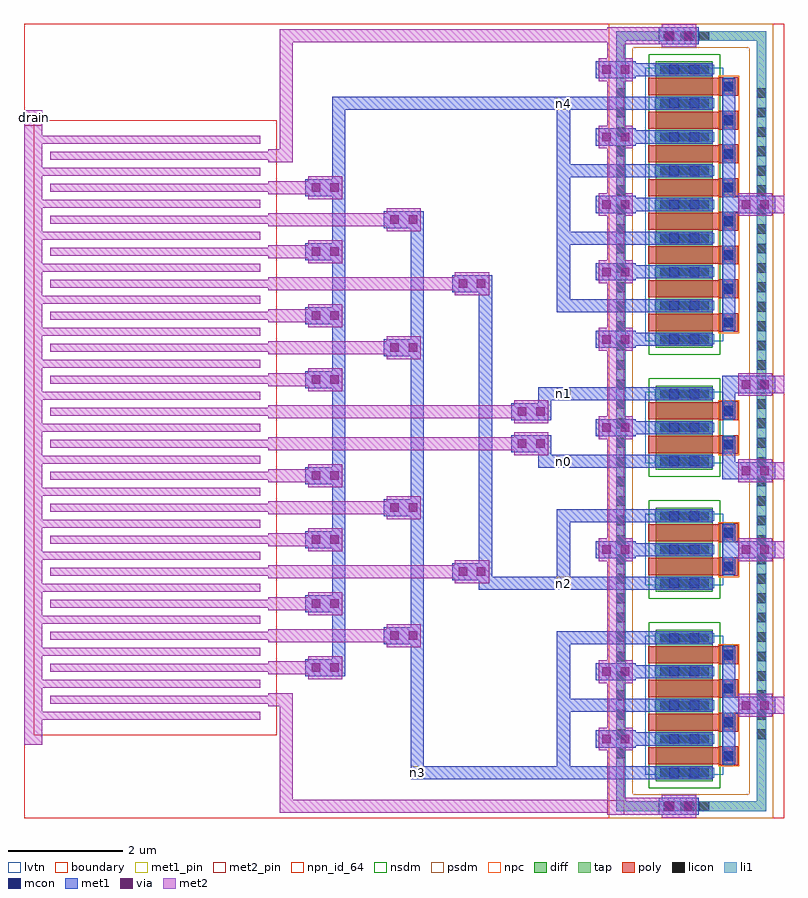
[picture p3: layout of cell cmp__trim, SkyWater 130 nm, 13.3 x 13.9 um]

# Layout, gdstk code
from math import pi, radians
import gdstk
lib = gdstk.Library(unit=1e-6, precision=1e-09)
def R(c, l, rs):  # rectangles x0, y0, x1, y1
    for r in rs: c.add(gdstk.rectangle(r[:2], r[2:], *l))
def A(c, l, x, y, w, h, nx, ny, dx, dy):  # array of equal rectangles
    R(c, l, [(x+i*dx, y+j*dy, x+i*dx+w, y+j*dy+h) for i in range(nx) for j in range(ny)])
diff = (65, 20)
tap = (65, 44)
poly = (66, 20)
licon = (66, 44)
li1 = (67, 20)
mcon = (67, 44)
met1_pin = (68, 16)
met1 = (68, 20)
via = (68, 44)
met2_pin = (69, 16)
met2 = (69, 20)
npn_id_64 = (82, 64)
nsdm = (93, 44)
psdm = (94, 20)
npc = (95, 20)
lvtn = (125, 44)
boundary = (235, 4)

via_m1_m2_7 = lib.new_cell('via_M1_M2$7')
R(via_m1_m2_7, met1, [(-0.35,0,-0.05,0.7)])
R(via_m1_m2_7, via, [(-0.275,0.115,-0.125,0.265), (-0.275,0.435,-0.125,0.585)])
R(via_m1_m2_7, met2, [(-0.4,0.05,0,0.65)])

via_li_m1_2 = lib.new_cell('via_LI_M1$2')
R(via_li_m1_2, li1, [(-0.2,0.03,-0.03,0.56)])
R(via_li_m1_2, mcon, [(-0.2,0.03,-0.03,0.2), (-0.2,0.39,-0.03,0.56)])
R(via_li_m1_2, met1, [(-0.23,0,0,0.59)])

cmpts__m1 = lib.new_cell('cmpts__M1')
R(cmpts__m1, diff, [(-0.455,-0.44,0.545,0.44)])
R(cmpts__m1, poly, [(0.655,-0.165,0.985,0.165), (-0.585,-0.15,0.655,0.15)])
A(cmpts__m1, licon, -0.38, -0.38, 0.17, 0.17, 3, 2, 0.34, 0.59)
R(cmpts__m1, licon, [(0.735,-0.085,0.905,0.085)])
R(cmpts__m1, li1, [(-0.475,-0.38,0.565,-0.21), (0.735,-0.165,0.905,0.165), (-0.475,0.21,0.565,0.38)])
R(cmpts__m1, mcon, [(-0.22,-0.38,-0.05,-0.21), (0.14,-0.38,0.31,-0.21), (0.735,-0.085,0.905,0.085), (-0.22,0.21,-0.05,0.38), (0.14,0.21,0.31,0.38)])
R(cmpts__m1, met1, [(-0.455,-0.41,0.545,-0.18), (0.705,-0.145,0.935,0.145), (-0.455,0.18,0.545,0.41)])
R(cmpts__m1, nsdm, [(-0.58,-0.565,0.67,0.565)])
R(cmpts__m1, npc, [(0.635,-0.185,1.005,0.185)])
R(cmpts__m1, lvtn, [(-0.635,-0.33,0.725,0.33)])

cmpts__guardring_n = lib.new_cell('cmpts__Guardring_N')
A(cmpts__guardring_n, licon, 2.175, 12.3, 0.17, 0.17, 1, 35, 0, 0.34)
A(cmpts__guardring_n, licon, 4.635, 12.64, 0.17, 0.17, 1, 34, 0, 0.34)
R(cmpts__guardring_n, licon, [(3.295,11.38,3.465,11.55), (3.635,11.38,3.805,11.55), (3.295,24.86,3.465,25.03), (3.635,24.86,3.805,25.03)])
cmpts__guardring_n.add(gdstk.FlexPath([(2.26,11.38),(2.26,24.945),(4.72,24.945),(4.72,11.465),(2.26,11.465)], 0.17, ends="flush", simple_path=True, layer=67, datatype=20))  # li1
cmpts__guardring_n.add(gdstk.FlexPath([(2.26,11.255),(2.26,24.945),(4.72,24.945),(4.72,11.465),(2.26,11.465)], 0.42, ends="flush", simple_path=True, layer=94, datatype=20))  # psdm
cmpts__guardring_n.add(gdstk.FlexPath([(2.26,11.38),(2.26,24.945),(4.72,24.945),(4.72,11.465),(2.26,11.465)], 0.17, ends="flush", simple_path=True, layer=65, datatype=44))  # tap

cmpt__trim_sw = lib.new_cell('cmpt__trim_sw')
R(cmpt__trim_sw, met1, [(-0.885,0.945,-0.655,3.005), (-0.885,4.26,-0.655,5.14)])
R(cmpt__trim_sw, met2_pin, [(-2.895,0.06,-2.595,0.31), (-0.005,1.825,0.2,2.125), (-0.005,4.55,0.2,4.85), (-0.005,5.93,0.2,6.23), (-0.005,7.44,0.2,7.74), (-0.005,10.59,0.2,10.89)])
R(cmpt__trim_sw, met2, [(-0.005,1.825,0.2,2.125), (-0.005,4.55,0.2,4.85), (-0.005,5.93,0.2,6.23), (-0.005,7.44,0.2,7.74), (-0.005,10.59,0.2,10.89)])
cmpt__trim_sw.add(gdstk.FlexPath([(-2.98,10.74),(-2.16,10.74)], 0.23, ends="extended", simple_path=True, layer=68, datatype=20))  # met1
cmpt__trim_sw.add(gdstk.FlexPath([(-2.98,13.1),(-2.16,13.1)], 0.23, ends="extended", simple_path=True, layer=68, datatype=20))  # met1
cmpt__trim_sw.add(gdstk.FlexPath([(-2.98,11.92),(-2.16,11.92)], 0.23, ends="extended", simple_path=True, layer=68, datatype=20))  # met1
cmpt__trim_sw.add(gdstk.FlexPath([(-2.98,10.74),(-2.16,10.74)], 0.23, ends="extended", simple_path=True, layer=68, datatype=20))  # met1
cmpt__trim_sw.add(gdstk.FlexPath([(-2.98,9.56),(-2.16,9.56)], 0.23, ends="extended", simple_path=True, layer=68, datatype=20))  # met1
cmpt__trim_sw.add(gdstk.FlexPath([(-3.66,4.11),(-3.66,5.29)], 0.23, ends="extended", simple_path=True, layer=68, datatype=20))  # met1
cmpt__trim_sw.add(gdstk.FlexPath([(-3.66,0.795),(-3.66,3.155)], 0.23, ends="extended", simple_path=True, layer=68, datatype=20))  # met1
cmpt__trim_sw.add(gdstk.FlexPath([(-3.66,6.245),(-2.16,6.245)], 0.23, ends="extended", simple_path=True, layer=68, datatype=20))  # met1
cmpt__trim_sw.add(gdstk.FlexPath([(-3.545,3.155),(-2.16,3.155)], 0.23, ends="extended", simple_path=True, layer=68, datatype=20))  # met1
cmpt__trim_sw.add(gdstk.FlexPath([(-3.545,5.29),(-2.16,5.29)], 0.23, ends="extended", simple_path=True, layer=68, datatype=20))  # met1
cmpt__trim_sw.add(gdstk.FlexPath([(-2.98,4.7),(-2.16,4.7)], 0.23, ends="extended", simple_path=True, layer=68, datatype=20))  # met1
cmpt__trim_sw.add(gdstk.FlexPath([(-3.545,4.11),(-2.16,4.11)], 0.23, ends="extended", simple_path=True, layer=68, datatype=20))  # met1
cmpt__trim_sw.add(gdstk.FlexPath([(-3.66,8.97),(-2.16,8.97)], 0.23, ends="extended", simple_path=True, layer=68, datatype=20))  # met1
cmpt__trim_sw.add(gdstk.FlexPath([(-3.66,12.51),(-2.16,12.51)], 0.23, ends="extended", simple_path=True, layer=68, datatype=20))  # met1
cmpt__trim_sw.add(gdstk.FlexPath([(-2.98,8.38),(-2.16,8.38)], 0.23, ends="extended", simple_path=True, layer=68, datatype=20))  # met1
cmpt__trim_sw.add(gdstk.FlexPath([(-3.66,11.33),(-2.16,11.33)], 0.23, ends="extended", simple_path=True, layer=68, datatype=20))  # met1
cmpt__trim_sw.add(gdstk.FlexPath([(-3.66,10.15),(-2.16,10.15)], 0.23, ends="extended", simple_path=True, layer=68, datatype=20))  # met1
cmpt__trim_sw.add(gdstk.FlexPath([(-3.66,8.97),(-3.66,12.51)], 0.23, ends="extended", simple_path=True, layer=68, datatype=20))  # met1
cmpt__trim_sw.add(gdstk.FlexPath([(-2.98,2.565),(-2.16,2.565)], 0.23, ends="extended", simple_path=True, layer=68, datatype=20))  # met1
cmpt__trim_sw.add(gdstk.FlexPath([(-2.98,1.385),(-2.16,1.385)], 0.23, ends="extended", simple_path=True, layer=68, datatype=20))  # met1
cmpt__trim_sw.add(gdstk.FlexPath([(-0.77,8.645),(-0.77,12.835)], 0.23, ends="extended", simple_path=True, layer=68, datatype=20))  # met1
cmpt__trim_sw.add(gdstk.FlexPath([(-3.545,1.975),(-2.16,1.975)], 0.23, ends="extended", simple_path=True, layer=68, datatype=20))  # met1
cmpt__trim_sw.add(gdstk.FlexPath([(-3.545,0.795),(-2.16,0.795)], 0.23, ends="extended", simple_path=True, layer=68, datatype=20))  # met1
cmpt__trim_sw.add(gdstk.FlexPath([(-0.77,6.28),(-0.77,6.045)], 0.23, ends="extended", simple_path=True, layer=68, datatype=20))  # met1
cmpt__trim_sw.add(gdstk.FlexPath([(-2.98,6.835),(-2.16,6.835)], 0.23, ends="extended", simple_path=True, layer=68, datatype=20))  # met1
cmpt__trim_sw.add(gdstk.FlexPath([(-3.66,7.425),(-2.16,7.425)], 0.23, ends="extended", simple_path=True, layer=68, datatype=20))  # met1
cmpt__trim_sw.add(gdstk.FlexPath([(-0.77,7.39),(-0.77,7.625)], 0.23, ends="extended", simple_path=True, layer=68, datatype=20))  # met1
cmpt__trim_sw.add(gdstk.FlexPath([(-1.945,13.69),(-2.745,13.69)], 0.3, ends="extended", simple_path=True, layer=69, datatype=20))  # met2
cmpt__trim_sw.add(gdstk.FlexPath([(-2.745,13.69),(-2.745,0.21)], 0.3, ends="extended", simple_path=True, layer=69, datatype=20))  # met2
cmpt__trim_sw.add(gdstk.FlexPath([(-1.945,0.21),(-2.745,0.21)], 0.3, ends="extended", simple_path=True, layer=69, datatype=20))  # met2
cmpt__trim_sw.add(gdstk.Reference(via_m1_m2_7, (-1.99,13.89), rotation=pi/2, x_reflection=True))
cmpt__trim_sw.add(gdstk.Reference(via_li_m1_2, (-1.345,13.805), rotation=pi/2))
cmpt__trim_sw.add(gdstk.Reference(via_m1_m2_7, (-1.99,0.41), rotation=pi/2, x_reflection=True))
cmpt__trim_sw.add(gdstk.Reference(via_li_m1_2, (-1.345,0.325), rotation=pi/2))
cmpt__trim_sw.add(gdstk.Reference(via_m1_m2_7, (-3.095,13.3), rotation=pi/2, x_reflection=True))
cmpt__trim_sw.add(gdstk.Reference(via_m1_m2_7, (-3.095,12.12), rotation=pi/2, x_reflection=True))
cmpt__trim_sw.add(gdstk.Reference(via_m1_m2_7, (-3.095,10.94), rotation=pi/2, x_reflection=True))
cmpt__trim_sw.add(gdstk.Reference(cmpts__m1, (-1.59,4.995)))
cmpt__trim_sw.add(gdstk.Reference(cmpts__m1, (-1.59,4.405)))
cmpt__trim_sw.add(gdstk.Reference(via_m1_m2_7, (-3.095,7.035), rotation=pi/2, x_reflection=True))
cmpt__trim_sw.add(gdstk.Reference(via_m1_m2_7, (-3.095,4.9), rotation=pi/2, x_reflection=True))
cmpt__trim_sw.add(gdstk.Reference(via_m1_m2_7, (-3.095,9.76), rotation=pi/2, x_reflection=True))
cmpt__trim_sw.add(gdstk.Reference(via_m1_m2_7, (-3.095,2.765), rotation=pi/2, x_reflection=True))
cmpt__trim_sw.add(gdstk.Reference(via_m1_m2_7, (-3.095,8.58), rotation=pi/2, x_reflection=True))
cmpt__trim_sw.add(gdstk.Reference(cmpts__m1, (-1.59,1.09)))
cmpt__trim_sw.add(gdstk.Reference(via_m1_m2_7, (-3.095,1.585), rotation=pi/2, x_reflection=True))
cmpt__trim_sw.add(gdstk.Reference(cmpts__m1, (-1.59,2.86)))
cmpt__trim_sw.add(gdstk.Reference(cmpts__m1, (-1.59,2.27)))
cmpt__trim_sw.add(gdstk.Reference(cmpts__m1, (-1.59,1.68)))
cmpt__trim_sw.add(gdstk.Reference(cmpts__m1, (-1.59,7.13)))
cmpt__trim_sw.add(gdstk.Reference(via_m1_m2_7, (-0.655,6.28), rotation=pi/2, x_reflection=True))
cmpt__trim_sw.add(gdstk.Reference(cmpts__m1, (-1.59,12.215)))
cmpt__trim_sw.add(gdstk.Reference(cmpts__m1, (-1.59,10.445)))
cmpt__trim_sw.add(gdstk.Reference(cmpts__m1, (-1.59,11.625)))
cmpt__trim_sw.add(gdstk.Reference(cmpts__m1, (-1.59,11.035)))
cmpt__trim_sw.add(gdstk.Reference(cmpts__m1, (-1.59,9.855)))
cmpt__trim_sw.add(gdstk.Reference(cmpts__m1, (-1.59,9.265)))
cmpt__trim_sw.add(gdstk.Reference(cmpts__m1, (-1.59,8.675)))
cmpt__trim_sw.add(gdstk.Reference(cmpts__m1, (-1.59,12.805)))
cmpt__trim_sw.add(gdstk.Reference(via_m1_m2_7, (-0.655,7.39), rotation=3*pi/2))
cmpt__trim_sw.add(gdstk.Reference(via_m1_m2_7, (-0.655,4.5), rotation=3*pi/2))
cmpt__trim_sw.add(gdstk.Reference(via_m1_m2_7, (-0.655,1.775), rotation=3*pi/2))
cmpt__trim_sw.add(gdstk.Reference(via_m1_m2_7, (-0.655,10.54), rotation=3*pi/2))
cmpt__trim_sw.add(gdstk.Reference(cmpts__m1, (-1.59,6.54)))
cmpt__trim_sw.add(gdstk.Reference(cmpts__guardring_n, (-4.915,-11.255)))
cmpt__trim_sw.add(gdstk.Label('d_0', (0.09,6.074), layer=69, texttype=16))
cmpt__trim_sw.add(gdstk.Label('d_1', (0.09,7.584), layer=69, texttype=16))
cmpt__trim_sw.add(gdstk.Label('d_2', (0.09,4.694), layer=69, texttype=16))
cmpt__trim_sw.add(gdstk.Label('d_3', (0.09,1.969), layer=69, texttype=16))
cmpt__trim_sw.add(gdstk.Label('d_4', (0.09,10.734), layer=69, texttype=16))
cmpt__trim_sw.add(gdstk.Label('vss', (-2.745,0.185), layer=69, texttype=16))

cmpt__c0 = lib.new_cell('cmpt__C0')
R(cmpt__c0, met2, [(-4.39,0,-4.07,1.58), (-4.07,0.44,-0.26,0.58), (-3.93,0.72,-0.12,0.86), (-4.07,1,-0.26,1.14)])
R(cmpt__c0, npn_id_64, [(-4.22,0.17,0.03,1.41)])
cmpt__c0.add(gdstk.FlexPath([(-0.005,0.79),(0.2,0.79)], 0.23, ends="extended", simple_path=True, layer=69, datatype=20))  # met2

cmpt__trim_array = lib.new_cell('cmpt__trim_array')
cmpt__trim_array.add(gdstk.Reference(cmpt__c0, (-0.115,0.56)))
cmpt__trim_array.add(gdstk.Reference(cmpt__c0, (-0.115,1.12)))
cmpt__trim_array.add(gdstk.Reference(cmpt__c0, (-0.115,1.68)))
cmpt__trim_array.add(gdstk.Reference(cmpt__c0, (-0.115,2.24)))
cmpt__trim_array.add(gdstk.Reference(cmpt__c0, (-0.115,2.8)))
cmpt__trim_array.add(gdstk.Reference(cmpt__c0, (-0.115,3.36)))
cmpt__trim_array.add(gdstk.Reference(cmpt__c0, (-0.115,3.92)))
cmpt__trim_array.add(gdstk.Reference(cmpt__c0, (-0.115,4.48)))
cmpt__trim_array.add(gdstk.Reference(cmpt__c0, (-0.115,5.04)))
cmpt__trim_array.add(gdstk.Reference(cmpt__c0, (-0.115,5.6)))
cmpt__trim_array.add(gdstk.Reference(cmpt__c0, (-0.115,6.16)))
cmpt__trim_array.add(gdstk.Reference(cmpt__c0, (-0.115,6.72)))
cmpt__trim_array.add(gdstk.Reference(cmpt__c0, (-0.115,7.28)))
cmpt__trim_array.add(gdstk.Reference(cmpt__c0, (-0.115,7.84)))
cmpt__trim_array.add(gdstk.Reference(cmpt__c0, (-0.115,8.4)))
cmpt__trim_array.add(gdstk.Reference(cmpt__c0, (-0.115,8.96)))
cmpt__trim_array.add(gdstk.Reference(cmpt__c0, (-0.115,9.52)))
cmpt__trim_array.add(gdstk.Reference(cmpt__c0, (-0.115,0)))

cmp__trim = lib.new_cell('cmp__trim')
R(cmp__trim, met1_pin, [(-6.335,0.68,-6.105,0.91), (-3.775,3.995,-3.545,4.225), (-3.775,6.13,-3.545,6.36), (-3.775,7.31,-3.545,7.54), (-3.775,12.395,-3.545,12.625)])
R(cmp__trim, met2_pin, [(-13.1,12.115,-12.78,12.385)])
R(cmp__trim, npc, [(-0.955,0.905,-0.585,3.045), (-0.955,4.22,-0.585,5.18), (-0.955,6.355,-0.585,7.315), (-0.955,8.49,-0.585,12.99)])
R(cmp__trim, boundary, [(-13.1,0,0.2,13.9)])
cmp__trim.add(gdstk.FlexPath([(-3.66,6.245),(-3.99,6.245),(-3.99,6.59)], 0.23, ends="extended", simple_path=True, layer=68, datatype=20))  # met1
cmp__trim.add(gdstk.FlexPath([(-3.66,7.425),(-3.99,7.425),(-3.99,7.08)], 0.23, ends="extended", simple_path=True, layer=68, datatype=20))  # met1
cmp__trim.add(gdstk.FlexPath([(-7.595,2.9),(-7.595,10.77)], 0.23, ends="extended", simple_path=True, layer=68, datatype=20))  # met1
cmp__trim.add(gdstk.FlexPath([(-6.22,3.46),(-6.22,10.21)], 0.23, ends="extended", simple_path=True, layer=68, datatype=20))  # met1
cmp__trim.add(gdstk.FlexPath([(-7.595,10.77),(-7.595,12.51),(-3.66,12.51)], 0.23, ends="extended", simple_path=True, layer=68, datatype=20))  # met1
cmp__trim.add(gdstk.FlexPath([(-5.025,4.58),(-5.025,9.09)], 0.23, ends="extended", simple_path=True, layer=68, datatype=20))  # met1
cmp__trim.add(gdstk.FlexPath([(-6.22,3.46),(-6.22,0.795),(-3.66,0.795)], 0.23, ends="extended", simple_path=True, layer=68, datatype=20))  # met1
cmp__trim.add(gdstk.FlexPath([(-3.545,4.11),(-5.025,4.11),(-5.025,4.585)], 0.23, ends="extended", simple_path=True, layer=68, datatype=20))  # met1
cmp__trim.add(gdstk.FlexPath([(-8.245,3.755),(-8.28,3.755)], 0.23, ends="extended", simple_path=True, layer=69, datatype=20))  # met2
cmp__trim.add(gdstk.FlexPath([(-5.675,4.315),(-8.28,4.315)], 0.23, ends="extended", simple_path=True, layer=69, datatype=20))  # met2
cmp__trim.add(gdstk.FlexPath([(-8.245,4.875),(-8.28,4.875)], 0.23, ends="extended", simple_path=True, layer=69, datatype=20))  # met2
cmp__trim.add(gdstk.FlexPath([(-6.87,5.435),(-8.28,5.435)], 0.23, ends="extended", simple_path=True, layer=69, datatype=20))  # met2
cmp__trim.add(gdstk.FlexPath([(-8.245,5.995),(-8.28,5.995)], 0.23, ends="extended", simple_path=True, layer=69, datatype=20))  # met2
cmp__trim.add(gdstk.FlexPath([(-4.64,6.555),(-8.28,6.555)], 0.23, ends="extended", simple_path=True, layer=69, datatype=20))  # met2
cmp__trim.add(gdstk.FlexPath([(-6.87,3.195),(-8.28,3.195)], 0.23, ends="extended", simple_path=True, layer=69, datatype=20))  # met2
cmp__trim.add(gdstk.FlexPath([(-8.245,2.635),(-8.28,2.635)], 0.23, ends="extended", simple_path=True, layer=69, datatype=20))  # met2
cmp__trim.add(gdstk.FlexPath([(-8.245,2.635),(-8.28,2.635)], 0.23, ends="extended", simple_path=True, layer=69, datatype=20))  # met2
cmp__trim.add(gdstk.FlexPath([(-8.51,2.075),(-8.51,0.21),(-2.745,0.21)], 0.23, ends="extended", simple_path=True, layer=69, datatype=20))  # met2
cmp__trim.add(gdstk.FlexPath([(-8.245,9.915),(-8.28,9.915)], 0.23, ends="extended", simple_path=True, layer=69, datatype=20))  # met2
cmp__trim.add(gdstk.FlexPath([(-5.675,9.355),(-8.28,9.355)], 0.23, ends="extended", simple_path=True, layer=69, datatype=20))  # met2
cmp__trim.add(gdstk.FlexPath([(-8.245,8.795),(-8.28,8.795)], 0.23, ends="extended", simple_path=True, layer=69, datatype=20))  # met2
cmp__trim.add(gdstk.FlexPath([(-6.87,8.235),(-8.28,8.235)], 0.23, ends="extended", simple_path=True, layer=69, datatype=20))  # met2
cmp__trim.add(gdstk.FlexPath([(-8.245,7.675),(-8.28,7.675)], 0.23, ends="extended", simple_path=True, layer=69, datatype=20))  # met2
cmp__trim.add(gdstk.FlexPath([(-4.64,7.115),(-8.28,7.115)], 0.23, ends="extended", simple_path=True, layer=69, datatype=20))  # met2
cmp__trim.add(gdstk.FlexPath([(-6.87,10.475),(-8.28,10.475)], 0.23, ends="extended", simple_path=True, layer=69, datatype=20))  # met2
cmp__trim.add(gdstk.FlexPath([(-8.245,11.035),(-8.28,11.035)], 0.23, ends="extended", simple_path=True, layer=69, datatype=20))  # met2
cmp__trim.add(gdstk.FlexPath([(-8.245,11.035),(-8.28,11.035)], 0.23, ends="extended", simple_path=True, layer=69, datatype=20))  # met2
cmp__trim.add(gdstk.FlexPath([(-8.51,11.595),(-8.51,13.69),(-2.745,13.69)], 0.23, ends="extended", simple_path=True, layer=69, datatype=20))  # met2
cmp__trim.add(gdstk.Reference(cmpt__trim_sw, (0,0)))
cmp__trim.add(gdstk.Reference(via_m1_m2_7, (-7.48,3.555), rotation=3*pi/2, x_reflection=True))
cmp__trim.add(gdstk.Reference(via_m1_m2_7, (-4.91,4.115), rotation=3*pi/2, x_reflection=True))
cmp__trim.add(gdstk.Reference(via_m1_m2_7, (-7.48,4.675), rotation=3*pi/2, x_reflection=True))
cmp__trim.add(gdstk.Reference(via_m1_m2_7, (-6.105,5.235), rotation=3*pi/2, x_reflection=True))
cmp__trim.add(gdstk.Reference(via_m1_m2_7, (-7.48,5.795), rotation=3*pi/2, x_reflection=True))
cmp__trim.add(gdstk.Reference(cmpt__trim_array, (-8.595,1.285)))
cmp__trim.add(gdstk.Reference(via_m1_m2_7, (-3.875,6.355), rotation=3*pi/2, x_reflection=True))
cmp__trim.add(gdstk.Reference(via_m1_m2_7, (-6.105,2.995), rotation=3*pi/2, x_reflection=True))
cmp__trim.add(gdstk.Reference(via_m1_m2_7, (-7.48,2.435), rotation=3*pi/2, x_reflection=True))
cmp__trim.add(gdstk.Reference(via_m1_m2_7, (-7.48,10.115), rotation=pi/2))
cmp__trim.add(gdstk.Reference(via_m1_m2_7, (-4.91,9.555), rotation=pi/2))
cmp__trim.add(gdstk.Reference(via_m1_m2_7, (-7.48,8.995), rotation=pi/2))
cmp__trim.add(gdstk.Reference(via_m1_m2_7, (-6.105,8.435), rotation=pi/2))
cmp__trim.add(gdstk.Reference(via_m1_m2_7, (-7.48,7.875), rotation=pi/2))
cmp__trim.add(gdstk.Reference(via_m1_m2_7, (-3.875,7.315), rotation=pi/2))
cmp__trim.add(gdstk.Reference(via_m1_m2_7, (-6.105,10.675), rotation=pi/2))
cmp__trim.add(gdstk.Reference(via_m1_m2_7, (-7.48,11.235), rotation=pi/2))
cmp__trim.add(gdstk.Label('drain', (-12.925,12.255), layer=69, texttype=16))
cmp__trim.add(gdstk.Label('n3', (-6.22,0.795), layer=68, texttype=16))
cmp__trim.add(gdstk.Label('n4', (-3.66,12.51), layer=68, texttype=16))
cmp__trim.add(gdstk.Label('n2', (-3.66,4.11), layer=68, texttype=16))
cmp__trim.add(gdstk.Label('n1', (-3.66,7.425), layer=68, texttype=16))
cmp__trim.add(gdstk.Label('n0', (-3.66,6.245), layer=68, texttype=16))

lib.write_gds('cmp__trim.gds')
